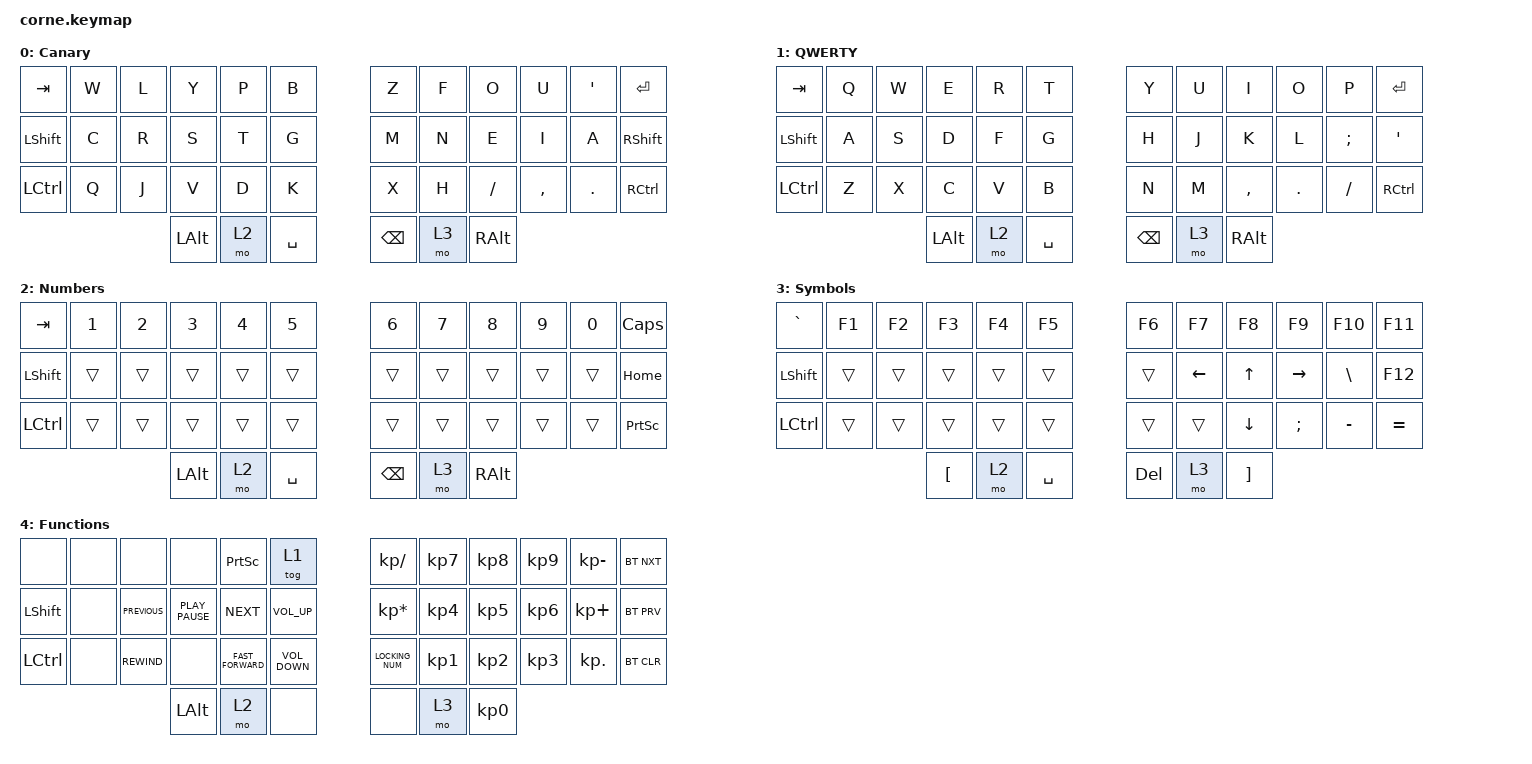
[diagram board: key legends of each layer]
/*
 * Copyright (c) 2020 The ZMK Contributors
 *
 * SPDX-License-Identifier: MIT
 */

#include <behaviors.dtsi>
#include <dt-bindings/zmk/bt.h>
#include <dt-bindings/zmk/keys.h>

/ {
    combos {
        compatible = "zmk,combos";

        combo_layer_functions {
            bindings = <&mo 4>;
            key-positions = <37 40>;
        };

        combo_escape {
            bindings = <&kp ESCAPE>;
            key-positions = <37 38>;
        };

        combo_left_gui {
            bindings = <&kp LEFT_GUI>;
            key-positions = <37 36>;
        };
    };

    keymap {
        compatible = "zmk,keymap";

        Canary {
            // -----------------------------------------------------------------------------------------
            // |  TAB |  Q  |  W  |  E  |  R  |  T  |   |  Y  |  U   |  I  |  O  |  P  | BSPC |
            // | CTRL |  A  |  S  |  D  |  F  |  G  |   |  H  |  J   |  K  |  L  |  ;  |  '   |
            // | SHFT |  Z  |  X  |  C  |  V  |  B  |   |  N  |  M   |  ,  |  .  |  /  | ESC  |
            //                    | GUI | LWR | SPC |   | ENT | RSE  | ALT |

            bindings = <
&kp TAB           &kp W  &kp L  &kp Y         &kp P  &kp B        &kp Z          &kp F  &kp O          &kp U      &kp APOSTROPHE  &kp RET
&kp LEFT_SHIFT    &kp C  &kp R  &kp S         &kp T  &kp G        &kp M          &kp N  &kp E          &kp I      &kp A           &kp RIGHT_SHIFT
&kp LEFT_CONTROL  &kp Q  &kp J  &kp V         &kp D  &kp K        &kp X          &kp H  &kp SLASH      &kp COMMA  &kp PERIOD      &kp RIGHT_CONTROL
                                &kp LEFT_ALT  &mo 2  &kp SPACE    &kp BACKSPACE  &mo 3  &kp RIGHT_ALT
            >;

            label = "Canary";
        };

        QWERTY {
            // -----------------------------------------------------------------------------------------
            // |  TAB |  1  |  2  |  3  |  4  |  5  |   |  6  |  7  |  8  |  9  |  0  | BSPC |
            // | BTCLR| BT1 | BT2 | BT3 | BT4 | BT5 |   | LFT | DWN |  UP | RGT |     |      |
            // | SHFT |     |     |     |     |     |   |     |     |     |     |     |      |
            //                    | GUI |     | SPC |   | ENT |     | ALT |

            bindings = <
&kp TAB           &kp Q  &kp W  &kp E         &kp R  &kp T        &kp Y          &kp U  &kp I          &kp O    &kp P     &kp RET
&kp LEFT_SHIFT    &kp A  &kp S  &kp D         &kp F  &kp G        &kp H          &kp J  &kp K          &kp L    &kp SEMI  &kp SQT
&kp LEFT_CONTROL  &kp Z  &kp X  &kp C         &kp V  &kp B        &kp N          &kp M  &kp COMMA      &kp DOT  &kp FSLH  &kp RIGHT_CONTROL
                                &kp LEFT_ALT  &mo 2  &kp SPACE    &kp BACKSPACE  &mo 3  &kp RIGHT_ALT
            >;

            label = "QWERTY";
        };

        Numbers {
            // -----------------------------------------------------------------------------------------
            // |  TAB |  !  |  @  |  #  |  $  |  %  |   |  ^  |  &  |  *  |  (  |  )  | BSPC |
            // | CTRL |     |     |     |     |     |   |  -  |  =  |  [  |  ]  |  \  |  `   |
            // | SHFT |     |     |     |     |     |   |  _  |  +  |  {  |  }  | "|" |  ~   |
            //                    | GUI |     | SPC |   | ENT |     | ALT |

            bindings = <
&kp TAB           &kp N1  &kp N2  &kp N3        &kp N4  &kp N5       &kp N6         &kp N7  &kp N8         &kp N9  &kp N0  &kp CAPSLOCK
&kp LEFT_SHIFT    &trans  &trans  &trans        &trans  &trans       &trans         &trans  &trans         &trans  &trans  &kp HOME
&kp LEFT_CONTROL  &trans  &trans  &trans        &trans  &trans       &trans         &trans  &trans         &trans  &trans  &kp PRINTSCREEN
                                  &kp LEFT_ALT  &mo 2   &kp SPACE    &kp BACKSPACE  &mo 3   &kp RIGHT_ALT
            >;

            label = "Numbers";
        };

        Symbols {
            bindings = <
&kp GRAVE         &kp F1  &kp F2  &kp F3            &kp F4  &kp F5       &kp F6      &kp F7          &kp F8             &kp F9           &kp F10    &kp F11
&kp LEFT_SHIFT    &trans  &trans  &trans            &trans  &trans       &trans      &kp LEFT_ARROW  &kp UP_ARROW       &kp RIGHT_ARROW  &kp BSLH   &kp F12
&kp LEFT_CONTROL  &trans  &trans  &trans            &trans  &trans       &trans      &trans          &kp DOWN_ARROW     &kp SEMICOLON    &kp MINUS  &kp EQUAL
                                  &kp LEFT_BRACKET  &mo 2   &kp SPACE    &kp DELETE  &mo 3           &kp RIGHT_BRACKET
            >;

            label = "Symbols";
        };

        Functions {
            bindings = <
&none             &none  &none           &none             &kp PRINTSCREEN     &tog 1               &kp KP_DIVIDE    &kp KP_NUMBER_7  &kp KP_NUMBER_8  &kp KP_NUMBER_9  &kp KP_SUBTRACT  &bt BT_NXT
&kp LEFT_SHIFT    &none  &kp C_PREVIOUS  &kp K_PLAY_PAUSE  &kp C_NEXT          &kp C_VOLUME_UP      &kp KP_MULTIPLY  &kp KP_NUMBER_4  &kp KP_NUMBER_5  &kp KP_NUMBER_6  &kp KP_PLUS      &bt BT_PRV
&kp LEFT_CONTROL  &none  &kp C_REWIND    &none             &kp C_FAST_FORWARD  &kp C_VOLUME_DOWN    &kp LOCKING_NUM  &kp KP_NUMBER_1  &kp KP_NUMBER_2  &kp KP_NUMBER_3  &kp KP_DOT       &bt BT_CLR
                                         &kp LEFT_ALT      &mo 2               &none                &none            &mo 3            &kp KP_NUMBER_0
            >;

            label = "Functions";
        };
    };
};
